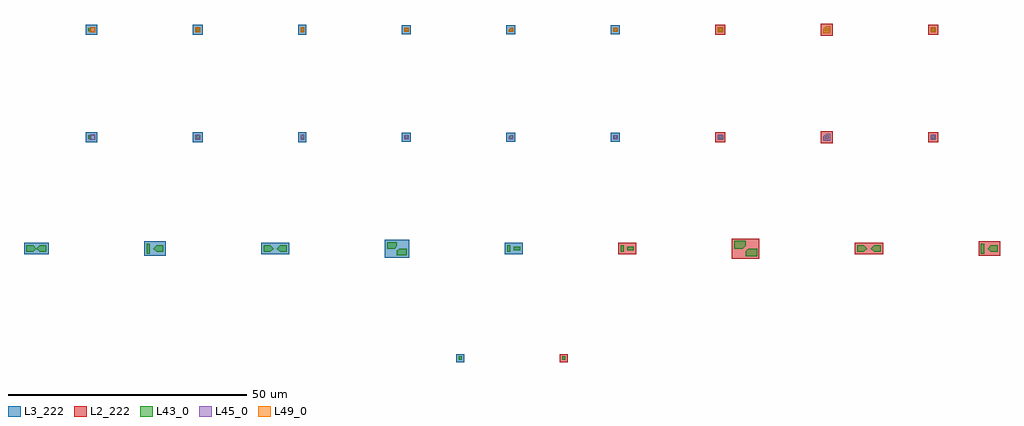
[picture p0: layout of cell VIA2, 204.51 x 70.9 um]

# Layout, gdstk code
from math import pi, radians
import gdstk
lib = gdstk.Library(unit=1e-6, precision=1e-09)
def R(c, l, rs):  # rectangles x0, y0, x1, y1
    for r in rs: c.add(gdstk.rectangle(r[:2], r[2:], *l))
def P(c, l, *ps):  # polygons
    for p in ps: c.add(gdstk.Polygon(p, *l))
L2_222 = (2, 222)
L3_222 = (3, 222)
L43_0 = (43, 0)
L45_0 = (45, 0)
L49_0 = (49, 0)

compass_layervia2_size0p = lib.new_cell('compass_layerVIA2_size0p7__0p7')
R(compass_layervia2_size0p, L43_0, [(-0.35,-0.35,0.35,0.35)])

rectangle_layervia2_size = lib.new_cell('rectangle_layerVIA2_size0p7__0p7')
rectangle_layervia2_size.add(gdstk.Reference(compass_layervia2_size0p, (0.35,0.35)))

compass_b2efa8bb = lib.new_cell('compass_b2efa8bb')
R(compass_b2efa8bb, L2_222, [(-0.85,-0.85,0.85,0.85)])

rectangle_b2efa8bb = lib.new_cell('rectangle_b2efa8bb')
rectangle_b2efa8bb.add(gdstk.Reference(compass_b2efa8bb, (0.85,0.85)))

pass_fail_mk_72bd3ad3 = lib.new_cell('pass_fail_mk_72bd3ad3')
pass_fail_mk_72bd3ad3.add(gdstk.Reference(rectangle_b2efa8bb, (-0.5,-0.5)))
pass_fail_mk_72bd3ad3.add(gdstk.Label('VIAC.W.1', (-0.25,-0.25), layer=11, texttype=222))

c_compass_layervia2_size0p = lib.new_cell('compass_layerVIA2_size0p69__0p69')
R(c_compass_layervia2_size0p, L43_0, [(-0.345,-0.345,0.345,0.345)])

c_rectangle_layervia2_size = lib.new_cell('rectangle_layerVIA2_size0p69__0p69')
c_rectangle_layervia2_size.add(gdstk.Reference(c_compass_layervia2_size0p, (0.345,0.345)))

compass_bd24d7c0 = lib.new_cell('compass_bd24d7c0')
R(compass_bd24d7c0, L3_222, [(-0.845,-0.845,0.845,0.845)])

rectangle_bd24d7c0 = lib.new_cell('rectangle_bd24d7c0')
rectangle_bd24d7c0.add(gdstk.Reference(compass_bd24d7c0, (0.845,0.845)))

pass_fail_mk_df7f044f = lib.new_cell('pass_fail_mk_df7f044f')
pass_fail_mk_df7f044f.add(gdstk.Reference(rectangle_bd24d7c0, (-0.5,-0.5)))
pass_fail_mk_df7f044f.add(gdstk.Label('VIAC.W.1', (-0.25,-0.25), layer=11, texttype=222))

size_patterns_width0_7_l = lib.new_cell('size_patterns_width0.7_layerVIA2')
size_patterns_width0_7_l.add(gdstk.Reference(rectangle_layervia2_size, (0,0)))
size_patterns_width0_7_l.add(gdstk.Reference(pass_fail_mk_72bd3ad3, (0,0)))
size_patterns_width0_7_l.add(gdstk.Reference(c_rectangle_layervia2_size, (-21.69,0.005)))
size_patterns_width0_7_l.add(gdstk.Reference(pass_fail_mk_df7f044f, (-21.69,0.005)))

c_compass_layervia2_size0p_ = lib.new_cell('compass_layerVIA2_size0p7__1p4')
R(c_compass_layervia2_size0p_, L43_0, [(-0.35,-0.7,0.35,0.7)])

c_rectangle_layervia2_size_ = lib.new_cell('rectangle_layerVIA2_size0p7__1p4')
c_rectangle_layervia2_size_.add(gdstk.Reference(c_compass_layervia2_size0p_, (0.35,0.7)))

compass_layervia2_size1p = lib.new_cell('compass_layerVIA2_size1p4__0p7')
R(compass_layervia2_size1p, L43_0, [(-0.7,-0.35,0.7,0.35)])

c_rectangle_layervia2_size__ = lib.new_cell('rectangle_layerVIA2_size1p4__0p7')
c_rectangle_layervia2_size__.add(gdstk.Reference(compass_layervia2_size1p, (0.7,0.35)))

space_basic_spacing0_7_l = lib.new_cell('space_basic_spacing0.7_layer1VIA2_layer2VIA2')
space_basic_spacing0_7_l.add(gdstk.Reference(c_rectangle_layervia2_size_, (-0.7,1.05), rotation=pi))
space_basic_spacing0_7_l.add(gdstk.Reference(c_rectangle_layervia2_size__, (0,0)))

compass_77408f74 = lib.new_cell('compass_77408f74')
R(compass_77408f74, L2_222, [(-1.9,-1.2,1.9,1.2)])

rectangle_77408f74 = lib.new_cell('rectangle_77408f74')
rectangle_77408f74.add(gdstk.Reference(compass_77408f74, (1.9,1.2)))

pass_fail_mk_171cb5ea = lib.new_cell('pass_fail_mk_171cb5ea')
pass_fail_mk_171cb5ea.add(gdstk.Reference(rectangle_77408f74, (-1.9,-0.85)))
pass_fail_mk_171cb5ea.add(gdstk.Label('VIAC.S.1', (-1.65,-0.6), layer=11, texttype=222))

space_basic_spacing0_69_ = lib.new_cell('space_basic_spacing0.69_layer1VIA2_layer2VIA2')
space_basic_spacing0_69_.add(gdstk.Reference(c_rectangle_layervia2_size_, (-0.69,1.05), rotation=pi))
space_basic_spacing0_69_.add(gdstk.Reference(c_rectangle_layervia2_size__, (0,0)))

compass_235e8b68 = lib.new_cell('compass_235e8b68')
R(compass_235e8b68, L3_222, [(-1.895,-1.2,1.895,1.2)])

rectangle_235e8b68 = lib.new_cell('rectangle_235e8b68')
rectangle_235e8b68.add(gdstk.Reference(compass_235e8b68, (1.895,1.2)))

pass_fail_mk_cb6344e8 = lib.new_cell('pass_fail_mk_cb6344e8')
pass_fail_mk_cb6344e8.add(gdstk.Reference(rectangle_235e8b68, (-1.89,-0.85)))
pass_fail_mk_cb6344e8.add(gdstk.Label('VIAC.S.1', (-1.64,-0.6), layer=11, texttype=222))

boolean_710292b4 = lib.new_cell('boolean_710292b4')
P(boolean_710292b4, L43_0, [(2.4,1.6),(0.567,1.6),(0,1.032),(0,0),(2.4,0)])

space_45deg_spacing0_799 = lib.new_cell('space_45deg_spacing0.7999999999999999_layer1VIA2_layer2VIA2')
space_45deg_spacing0_799.add(gdstk.Reference(boolean_710292b4, (0,0)))
space_45deg_spacing0_799.add(gdstk.Reference(boolean_710292b4, (0,3.2), rotation=pi))

compass_ca9d0b4a = lib.new_cell('compass_ca9d0b4a')
R(compass_ca9d0b4a, L2_222, [(-2.9,-2.1,2.9,2.1)])

rectangle_ca9d0b4a = lib.new_cell('rectangle_ca9d0b4a')
rectangle_ca9d0b4a.add(gdstk.Reference(compass_ca9d0b4a, (2.9,2.1)))

pass_fail_mk_9ec3c310 = lib.new_cell('pass_fail_mk_9ec3c310')
pass_fail_mk_9ec3c310.add(gdstk.Reference(rectangle_ca9d0b4a, (-2.9,-0.5)))
pass_fail_mk_9ec3c310.add(gdstk.Label('VIAC.S.1', (-2.65,-0.25), layer=11, texttype=222))

boolean_bac0e59e = lib.new_cell('boolean_bac0e59e')
P(boolean_bac0e59e, L43_0, [(2.07,1.38),(0.489,1.38),(0,0.891),(0,0),(2.07,0)])

space_45deg_spacing0_69_ = lib.new_cell('space_45deg_spacing0.69_layer1VIA2_layer2VIA2')
space_45deg_spacing0_69_.add(gdstk.Reference(boolean_bac0e59e, (0,0)))
space_45deg_spacing0_69_.add(gdstk.Reference(boolean_bac0e59e, (0,2.76), rotation=pi))

compass_da3c626a = lib.new_cell('compass_da3c626a')
R(compass_da3c626a, L3_222, [(-2.57,-1.88,2.57,1.88)])

rectangle_da3c626a = lib.new_cell('rectangle_da3c626a')
rectangle_da3c626a.add(gdstk.Reference(compass_da3c626a, (2.57,1.88)))

pass_fail_mk_a6b277d7 = lib.new_cell('pass_fail_mk_a6b277d7')
pass_fail_mk_a6b277d7.add(gdstk.Reference(rectangle_da3c626a, (-2.57,-0.5)))
pass_fail_mk_a6b277d7.add(gdstk.Label('VIAC.S.1', (-2.32,-0.25), layer=11, texttype=222))

boolean_8b945e49 = lib.new_cell('boolean_8b945e49')
P(boolean_8b945e49, L43_0, [(0,0),(1.4,0),(1.4,1.4),(0,1.4),(-0.7,0.7)])

boolean_934e1363 = lib.new_cell('boolean_934e1363')
P(boolean_934e1363, L43_0, [(1.4,1.4),(0,1.4),(-0.7,0.7),(0,0),(1.4,0)])

space_cor2cor_spacing0_7 = lib.new_cell('space_cor2cor_spacing0.7_layer1VIA2_layer2VIA2')
space_cor2cor_spacing0_7.add(gdstk.Reference(boolean_8b945e49, (0,0)))
space_cor2cor_spacing0_7.add(gdstk.Reference(boolean_934e1363, (-2.1,1.4), rotation=pi))

compass_ff052847 = lib.new_cell('compass_ff052847')
R(compass_ff052847, L2_222, [(-2.95,-1.2,2.95,1.2)])

rectangle_ff052847 = lib.new_cell('rectangle_ff052847')
rectangle_ff052847.add(gdstk.Reference(compass_ff052847, (2.95,1.2)))

pass_fail_mk_9d7fc9be = lib.new_cell('pass_fail_mk_9d7fc9be')
pass_fail_mk_9d7fc9be.add(gdstk.Reference(rectangle_ff052847, (-4,-0.5)))
pass_fail_mk_9d7fc9be.add(gdstk.Label('VIAC.S.1', (-3.75,-0.25), layer=11, texttype=222))

space_cor2cor_spacing0_6 = lib.new_cell('space_cor2cor_spacing0.69_layer1VIA2_layer2VIA2')
space_cor2cor_spacing0_6.add(gdstk.Reference(boolean_8b945e49, (0,0)))
space_cor2cor_spacing0_6.add(gdstk.Reference(boolean_934e1363, (-2.09,1.4), rotation=pi))

compass_60b5a301 = lib.new_cell('compass_60b5a301')
R(compass_60b5a301, L3_222, [(-2.945,-1.2,2.945,1.2)])

rectangle_60b5a301 = lib.new_cell('rectangle_60b5a301')
rectangle_60b5a301.add(gdstk.Reference(compass_60b5a301, (2.945,1.2)))

pass_fail_mk_4e3239f9 = lib.new_cell('pass_fail_mk_4e3239f9')
pass_fail_mk_4e3239f9.add(gdstk.Reference(rectangle_60b5a301, (-3.99,-0.5)))
pass_fail_mk_4e3239f9.add(gdstk.Label('VIAC.S.1', (-3.74,-0.25), layer=11, texttype=222))

c_compass_layervia2_size0p__ = lib.new_cell('compass_layerVIA2_size0p7__2p1')
R(c_compass_layervia2_size0p__, L43_0, [(-0.35,-1.05,0.35,1.05)])

c_rectangle_layervia2_size___ = lib.new_cell('rectangle_layerVIA2_size0p7__2p1')
c_rectangle_layervia2_size___.add(gdstk.Reference(c_compass_layervia2_size0p__, (0.35,1.05)))

space_cor2edge_spacing0_ = lib.new_cell('space_cor2edge_spacing0.7_layer1VIA2_layer2VIA2')
space_cor2edge_spacing0_.add(gdstk.Reference(c_rectangle_layervia2_size___, (-2.1,-0.35)))
space_cor2edge_spacing0_.add(gdstk.Reference(boolean_8b945e49, (0,0)))

compass_0f98536f = lib.new_cell('compass_0f98536f')
R(compass_0f98536f, L2_222, [(-2.25,-1.55,2.25,1.55)])

rectangle_0f98536f = lib.new_cell('rectangle_0f98536f')
rectangle_0f98536f.add(gdstk.Reference(compass_0f98536f, (2.25,1.55)))

pass_fail_mk_c30ee0fb = lib.new_cell('pass_fail_mk_c30ee0fb')
pass_fail_mk_c30ee0fb.add(gdstk.Reference(rectangle_0f98536f, (-2.6,-0.85)))
pass_fail_mk_c30ee0fb.add(gdstk.Label('VIAC.S.1', (-2.35,-0.6), layer=11, texttype=222))

c_space_cor2edge_spacing0_ = lib.new_cell('space_cor2edge_spacing0.69_layer1VIA2_layer2VIA2')
c_space_cor2edge_spacing0_.add(gdstk.Reference(c_rectangle_layervia2_size___, (-2.09,-0.35)))
c_space_cor2edge_spacing0_.add(gdstk.Reference(boolean_8b945e49, (0,0)))

compass_382587ec = lib.new_cell('compass_382587ec')
R(compass_382587ec, L3_222, [(-2.245,-1.55,2.245,1.55)])

rectangle_382587ec = lib.new_cell('rectangle_382587ec')
rectangle_382587ec.add(gdstk.Reference(compass_382587ec, (2.245,1.55)))

pass_fail_mk_7d301e74 = lib.new_cell('pass_fail_mk_7d301e74')
pass_fail_mk_7d301e74.add(gdstk.Reference(rectangle_382587ec, (-2.59,-0.85)))
pass_fail_mk_7d301e74.add(gdstk.Label('VIAC.S.1', (-2.34,-0.6), layer=11, texttype=222))

space_singular_layer1via = lib.new_cell('space_singular_layer1VIA2_layer2VIA2')
space_singular_layer1via.add(gdstk.Reference(boolean_8b945e49, (0,0)))
space_singular_layer1via.add(gdstk.Reference(boolean_8b945e49, (-1.4,1.4), rotation=pi))

compass_ae880962 = lib.new_cell('compass_ae880962')
R(compass_ae880962, L3_222, [(-2.6,-1.2,2.6,1.2)])

rectangle_ae880962 = lib.new_cell('rectangle_ae880962')
rectangle_ae880962.add(gdstk.Reference(compass_ae880962, (2.6,1.2)))

pass_fail_mk_90696ac2 = lib.new_cell('pass_fail_mk_90696ac2')
pass_fail_mk_90696ac2.add(gdstk.Reference(rectangle_ae880962, (-3.3,-0.5)))
pass_fail_mk_90696ac2.add(gdstk.Label('VIAC.S.1', (-3.05,-0.25), layer=11, texttype=222))

space_patterns_width0_7_ = lib.new_cell('space_patterns_width0.7_layer1VIA2_layer2VIA2')
space_patterns_width0_7_.add(gdstk.Reference(space_basic_spacing0_7_l, (0,0)))
space_patterns_width0_7_.add(gdstk.Reference(pass_fail_mk_171cb5ea, (0,0)))
space_patterns_width0_7_.add(gdstk.Reference(space_basic_spacing0_69_, (-23.8,0)))
space_patterns_width0_7_.add(gdstk.Reference(pass_fail_mk_cb6344e8, (-23.8,0)))
space_patterns_width0_7_.add(gdstk.Reference(space_45deg_spacing0_799, (24.8,-1.25)))
space_patterns_width0_7_.add(gdstk.Reference(pass_fail_mk_9ec3c310, (24.8,-1.25)))
space_patterns_width0_7_.add(gdstk.Reference(space_45deg_spacing0_69_, (-48.26,-1.03)))
space_patterns_width0_7_.add(gdstk.Reference(pass_fail_mk_a6b277d7, (-48.26,-1.03)))
space_patterns_width0_7_.add(gdstk.Reference(space_cor2cor_spacing0_7, (51.7,-0.35)))
space_patterns_width0_7_.add(gdstk.Reference(pass_fail_mk_9d7fc9be, (51.7,-0.35)))
space_patterns_width0_7_.add(gdstk.Reference(space_cor2cor_spacing0_6, (-72.73,-0.35)))
space_patterns_width0_7_.add(gdstk.Reference(pass_fail_mk_4e3239f9, (-72.73,-0.35)))
space_patterns_width0_7_.add(gdstk.Reference(space_cor2edge_spacing0_, (76.2,-0.35)))
space_patterns_width0_7_.add(gdstk.Reference(pass_fail_mk_c30ee0fb, (76.2,-0.35)))
space_patterns_width0_7_.add(gdstk.Reference(c_space_cor2edge_spacing0_, (-98.62,-0.35)))
space_patterns_width0_7_.add(gdstk.Reference(pass_fail_mk_7d301e74, (-98.62,-0.35)))
space_patterns_width0_7_.add(gdstk.Reference(space_singular_layer1via, (-123.11,-0.35)))
space_patterns_width0_7_.add(gdstk.Reference(pass_fail_mk_90696ac2, (-123.11,-0.35)))

compass_layerm2_size1p1_ = lib.new_cell('compass_layerM2_size1p1__1p1')
R(compass_layerm2_size1p1_, L45_0, [(-0.55,-0.55,0.55,0.55)])

rectangle_layerm2_size1p = lib.new_cell('rectangle_layerM2_size1p1__1p1')
rectangle_layerm2_size1p.add(gdstk.Reference(compass_layerm2_size1p1_, (0.55,0.55)))

enclose_basic_enc0_2_wid = lib.new_cell('enclose_basic_enc0.2_width0.7_layer_VIA2_enc_layerM2')
enclose_basic_enc0_2_wid.add(gdstk.Reference(rectangle_layervia2_size, (0,0)))
enclose_basic_enc0_2_wid.add(gdstk.Reference(rectangle_layerm2_size1p, (-0.2,-0.2)))

compass_4d9544ad = lib.new_cell('compass_4d9544ad')
R(compass_4d9544ad, L2_222, [(-1.05,-1.05,1.05,1.05)])

rectangle_4d9544ad = lib.new_cell('rectangle_4d9544ad')
rectangle_4d9544ad.add(gdstk.Reference(compass_4d9544ad, (1.05,1.05)))

pass_fail_mk_add33fec = lib.new_cell('pass_fail_mk_add33fec')
pass_fail_mk_add33fec.add(gdstk.Reference(rectangle_4d9544ad, (-0.7,-0.7)))
pass_fail_mk_add33fec.add(gdstk.Label('VIAC.EN.1', (-0.45,-0.45), layer=11, texttype=222))

compass_layerm2_size0p9_ = lib.new_cell('compass_layerM2_size0p9__0p9')
R(compass_layerm2_size0p9_, L45_0, [(-0.45,-0.45,0.45,0.45)])

rectangle_layerm2_size0p = lib.new_cell('rectangle_layerM2_size0p9__0p9')
rectangle_layerm2_size0p.add(gdstk.Reference(compass_layerm2_size0p9_, (0.45,0.45)))

enclose_basic_enc0_1_wid = lib.new_cell('enclose_basic_enc0.1_width0.7_layer_VIA2_enc_layerM2')
enclose_basic_enc0_1_wid.add(gdstk.Reference(rectangle_layervia2_size, (0,0)))
enclose_basic_enc0_1_wid.add(gdstk.Reference(rectangle_layerm2_size0p, (-0.1,-0.1)))

compass_35335814 = lib.new_cell('compass_35335814')
R(compass_35335814, L3_222, [(-0.95,-0.95,0.95,0.95)])

rectangle_35335814 = lib.new_cell('rectangle_35335814')
rectangle_35335814.add(gdstk.Reference(compass_35335814, (0.95,0.95)))

pass_fail_mk_519b82d3 = lib.new_cell('pass_fail_mk_519b82d3')
pass_fail_mk_519b82d3.add(gdstk.Reference(rectangle_35335814, (-0.6,-0.6)))
pass_fail_mk_519b82d3.add(gdstk.Label('VIAC.EN.1', (-0.35,-0.35), layer=11, texttype=222))

boolean_3cbc6f09 = lib.new_cell('boolean_3cbc6f09')
P(boolean_3cbc6f09, L43_0, [(0.7,0.7),(0.248,0.7),(0,0.452),(0,0),(0.7,0)])

boolean_161bbef3 = lib.new_cell('boolean_161bbef3')
P(boolean_161bbef3, L45_0, [(1.1,1.1),(0.209,1.1),(-0.4,0.491),(-0.4,-0.4),(1.1,-0.4)])

enclose_45deg_enc0_4_wid = lib.new_cell('enclose_45deg_enc0.4_width0.7_layer_VIA2_enc_layerM2')
enclose_45deg_enc0_4_wid.add(gdstk.Reference(boolean_3cbc6f09, (0,0)))
enclose_45deg_enc0_4_wid.add(gdstk.Reference(boolean_161bbef3, (0,0)))

compass_d4646f12 = lib.new_cell('compass_d4646f12')
R(compass_d4646f12, L2_222, [(-1.25,-1.25,1.25,1.25)])

rectangle_d4646f12 = lib.new_cell('rectangle_d4646f12')
rectangle_d4646f12.add(gdstk.Reference(compass_d4646f12, (1.25,1.25)))

pass_fail_mk_6dbe12ae = lib.new_cell('pass_fail_mk_6dbe12ae')
pass_fail_mk_6dbe12ae.add(gdstk.Reference(rectangle_d4646f12, (-0.9,-0.9)))
pass_fail_mk_6dbe12ae.add(gdstk.Label('VIAC.EN.1', (-0.65,-0.65), layer=11, texttype=222))

boolean_068c61a4 = lib.new_cell('boolean_068c61a4')
P(boolean_068c61a4, L45_0, [(0.8,0.8),(0.315,0.8),(-0.1,0.385),(-0.1,-0.1),(0.8,-0.1)])

enclose_45deg_enc0_1_wid = lib.new_cell('enclose_45deg_enc0.1_width0.7_layer_VIA2_enc_layerM2')
enclose_45deg_enc0_1_wid.add(gdstk.Reference(boolean_3cbc6f09, (0,0)))
enclose_45deg_enc0_1_wid.add(gdstk.Reference(boolean_068c61a4, (0,0)))

pass_fail_mk_f480aef5 = lib.new_cell('pass_fail_mk_f480aef5')
pass_fail_mk_f480aef5.add(gdstk.Reference(rectangle_35335814, (-0.6,-0.6)))
pass_fail_mk_f480aef5.add(gdstk.Label('VIAC.EN.1', (-0.35,-0.35), layer=11, texttype=222))

boolean_f3df6625 = lib.new_cell('boolean_f3df6625')
P(boolean_f3df6625, L45_0, [(0.9,0.9),(-0.085,0.9),(-0.2,0.785),(-0.2,-0.2),(0.9,-0.2)])

enclose_cor2edge_enc0_2_ = lib.new_cell('enclose_cor2edge_enc0.2_width0.7_layer_VIA2_enc_layerM2')
enclose_cor2edge_enc0_2_.add(gdstk.Reference(rectangle_layervia2_size, (0,0)))
enclose_cor2edge_enc0_2_.add(gdstk.Reference(boolean_f3df6625, (0,0)))

pass_fail_mk_6daf7c5c = lib.new_cell('pass_fail_mk_6daf7c5c')
pass_fail_mk_6daf7c5c.add(gdstk.Reference(rectangle_4d9544ad, (-0.7,-0.7)))
pass_fail_mk_6daf7c5c.add(gdstk.Label('VIAC.EN.1', (-0.45,-0.45), layer=11, texttype=222))

boolean_da858abf = lib.new_cell('boolean_da858abf')
P(boolean_da858abf, L45_0, [(0.8,0.8),(-0.042,0.8),(-0.1,0.742),(-0.1,-0.1),(0.8,-0.1)])

enclose_cor2edge_enc0_1_ = lib.new_cell('enclose_cor2edge_enc0.1_width0.7_layer_VIA2_enc_layerM2')
enclose_cor2edge_enc0_1_.add(gdstk.Reference(rectangle_layervia2_size, (0,0)))
enclose_cor2edge_enc0_1_.add(gdstk.Reference(boolean_da858abf, (0,0)))

pass_fail_mk_2a5da96a = lib.new_cell('pass_fail_mk_2a5da96a')
pass_fail_mk_2a5da96a.add(gdstk.Reference(rectangle_35335814, (-0.6,-0.6)))
pass_fail_mk_2a5da96a.add(gdstk.Label('VIAC.EN.1', (-0.35,-0.35), layer=11, texttype=222))

compass_layerm2_size0p7_ = lib.new_cell('compass_layerM2_size0p7__1p1')
R(compass_layerm2_size0p7_, L45_0, [(-0.35,-0.55,0.35,0.55)])

c_rectangle_layerm2_size0p = lib.new_cell('rectangle_layerM2_size0p7__1p1')
c_rectangle_layerm2_size0p.add(gdstk.Reference(compass_layerm2_size0p7_, (0.35,0.55)))

enclose_touch_enc0_2_wid = lib.new_cell('enclose_touch_enc0.2_width0.7_layer_VIA2_enc_layerM2')
enclose_touch_enc0_2_wid.add(gdstk.Reference(rectangle_layervia2_size, (0,0)))
enclose_touch_enc0_2_wid.add(gdstk.Reference(c_rectangle_layerm2_size0p, (0,-0.2)))

compass_6bef56c6 = lib.new_cell('compass_6bef56c6')
R(compass_6bef56c6, L3_222, [(-0.85,-1.05,0.85,1.05)])

rectangle_6bef56c6 = lib.new_cell('rectangle_6bef56c6')
rectangle_6bef56c6.add(gdstk.Reference(compass_6bef56c6, (0.85,1.05)))

pass_fail_mk_edf9bd42 = lib.new_cell('pass_fail_mk_edf9bd42')
pass_fail_mk_edf9bd42.add(gdstk.Reference(rectangle_6bef56c6, (-0.5,-0.7)))
pass_fail_mk_edf9bd42.add(gdstk.Label('VIAC.EN.1', (-0.25,-0.45), layer=11, texttype=222))

boolean_4a46e342 = lib.new_cell('boolean_4a46e342')
P(boolean_4a46e342, L45_0, [(0.9,0.9),(-0.2,0.9),(-0.2,0.088),(0.088,0.088),(0.088,0.612),(0.612,0.612),(0.612,0.088),(0.088,0.088),(-0.2,0.088),(-0.2,-0.2),(0.9,-0.2)])

enclose_hole_enc0_2_widt = lib.new_cell('enclose_hole_enc0.2_width0.7_layer_VIA2_enc_layerM2')
enclose_hole_enc0_2_widt.add(gdstk.Reference(rectangle_layervia2_size, (0,0)))
enclose_hole_enc0_2_widt.add(gdstk.Reference(boolean_4a46e342, (0,0)))

compass_68271b65 = lib.new_cell('compass_68271b65')
R(compass_68271b65, L3_222, [(-1.05,-1.05,1.05,1.05)])

rectangle_68271b65 = lib.new_cell('rectangle_68271b65')
rectangle_68271b65.add(gdstk.Reference(compass_68271b65, (1.05,1.05)))

pass_fail_mk_ac9b9ad2 = lib.new_cell('pass_fail_mk_ac9b9ad2')
pass_fail_mk_ac9b9ad2.add(gdstk.Reference(rectangle_68271b65, (-0.7,-0.7)))
pass_fail_mk_ac9b9ad2.add(gdstk.Label('VIAC.EN.1', (-0.45,-0.45), layer=11, texttype=222))

enclose_intersect_enc0_2 = lib.new_cell('enclose_intersect_enc0.2_width0.7_layer_VIA2_enc_layerM2')
enclose_intersect_enc0_2.add(gdstk.Reference(rectangle_layervia2_size, (-0.55,0)))
enclose_intersect_enc0_2.add(gdstk.Reference(rectangle_layerm2_size1p, (-0.2,-0.2)))

compass_78b57009 = lib.new_cell('compass_78b57009')
R(compass_78b57009, L3_222, [(-1.225,-1.05,1.225,1.05)])

rectangle_78b57009 = lib.new_cell('rectangle_78b57009')
rectangle_78b57009.add(gdstk.Reference(compass_78b57009, (1.225,1.05)))

pass_fail_mk_bdd8e216 = lib.new_cell('pass_fail_mk_bdd8e216')
pass_fail_mk_bdd8e216.add(gdstk.Reference(rectangle_78b57009, (-1.05,-0.7)))
pass_fail_mk_bdd8e216.add(gdstk.Label('VIAC.EN.1', (-0.8,-0.45), layer=11, texttype=222))

enclose_patterns_enclosu = lib.new_cell('enclose_patterns_enclosure0.2_width0.7_layerVIA2_enc_layerM2')
enclose_patterns_enclosu.add(gdstk.Reference(enclose_basic_enc0_2_wid, (0,0)))
enclose_patterns_enclosu.add(gdstk.Reference(pass_fail_mk_add33fec, (0,0)))
enclose_patterns_enclosu.add(gdstk.Reference(enclose_basic_enc0_1_wid, (-22,0)))
enclose_patterns_enclosu.add(gdstk.Reference(pass_fail_mk_519b82d3, (-22,0)))
enclose_patterns_enclosu.add(gdstk.Reference(enclose_45deg_enc0_4_wid, (22.3,0)))
enclose_patterns_enclosu.add(gdstk.Reference(pass_fail_mk_6dbe12ae, (22.3,0)))
enclose_patterns_enclosu.add(gdstk.Reference(enclose_45deg_enc0_1_wid, (-43.9,0)))
enclose_patterns_enclosu.add(gdstk.Reference(pass_fail_mk_f480aef5, (-43.9,0)))
enclose_patterns_enclosu.add(gdstk.Reference(enclose_cor2edge_enc0_2_, (44.6,0)))
enclose_patterns_enclosu.add(gdstk.Reference(pass_fail_mk_6daf7c5c, (44.6,0)))
enclose_patterns_enclosu.add(gdstk.Reference(enclose_cor2edge_enc0_1_, (-65.8,0)))
enclose_patterns_enclosu.add(gdstk.Reference(pass_fail_mk_2a5da96a, (-65.8,0)))
enclose_patterns_enclosu.add(gdstk.Reference(enclose_touch_enc0_2_wid, (-87.6,0)))
enclose_patterns_enclosu.add(gdstk.Reference(pass_fail_mk_edf9bd42, (-87.6,0)))
enclose_patterns_enclosu.add(gdstk.Reference(enclose_hole_enc0_2_widt, (-109.5,0)))
enclose_patterns_enclosu.add(gdstk.Reference(pass_fail_mk_ac9b9ad2, (-109.5,0)))
enclose_patterns_enclosu.add(gdstk.Reference(enclose_intersect_enc0_2, (-131.6,0)))
enclose_patterns_enclosu.add(gdstk.Reference(pass_fail_mk_bdd8e216, (-131.6,0)))

compass_layerm3_size1p1_ = lib.new_cell('compass_layerM3_size1p1__1p1')
R(compass_layerm3_size1p1_, L49_0, [(-0.55,-0.55,0.55,0.55)])

rectangle_layerm3_size1p = lib.new_cell('rectangle_layerM3_size1p1__1p1')
rectangle_layerm3_size1p.add(gdstk.Reference(compass_layerm3_size1p1_, (0.55,0.55)))

c_enclose_basic_enc0_2_wid = lib.new_cell('enclose_basic_enc0.2_width0.7_layer_VIA2_enc_layerM3')
c_enclose_basic_enc0_2_wid.add(gdstk.Reference(rectangle_layervia2_size, (0,0)))
c_enclose_basic_enc0_2_wid.add(gdstk.Reference(rectangle_layerm3_size1p, (-0.2,-0.2)))

pass_fail_mk_5382d05a = lib.new_cell('pass_fail_mk_5382d05a')
pass_fail_mk_5382d05a.add(gdstk.Reference(rectangle_4d9544ad, (-0.7,-0.7)))
pass_fail_mk_5382d05a.add(gdstk.Label('VIAC.EN.2', (-0.45,-0.45), layer=11, texttype=222))

compass_layerm3_size0p9_ = lib.new_cell('compass_layerM3_size0p9__0p9')
R(compass_layerm3_size0p9_, L49_0, [(-0.45,-0.45,0.45,0.45)])

rectangle_layerm3_size0p = lib.new_cell('rectangle_layerM3_size0p9__0p9')
rectangle_layerm3_size0p.add(gdstk.Reference(compass_layerm3_size0p9_, (0.45,0.45)))

c_enclose_basic_enc0_1_wid = lib.new_cell('enclose_basic_enc0.1_width0.7_layer_VIA2_enc_layerM3')
c_enclose_basic_enc0_1_wid.add(gdstk.Reference(rectangle_layervia2_size, (0,0)))
c_enclose_basic_enc0_1_wid.add(gdstk.Reference(rectangle_layerm3_size0p, (-0.1,-0.1)))

pass_fail_mk_3b71d2f0 = lib.new_cell('pass_fail_mk_3b71d2f0')
pass_fail_mk_3b71d2f0.add(gdstk.Reference(rectangle_35335814, (-0.6,-0.6)))
pass_fail_mk_3b71d2f0.add(gdstk.Label('VIAC.EN.2', (-0.35,-0.35), layer=11, texttype=222))

boolean_1b2d43b0 = lib.new_cell('boolean_1b2d43b0')
P(boolean_1b2d43b0, L49_0, [(1.1,1.1),(0.209,1.1),(-0.4,0.491),(-0.4,-0.4),(1.1,-0.4)])

c_enclose_45deg_enc0_4_wid = lib.new_cell('enclose_45deg_enc0.4_width0.7_layer_VIA2_enc_layerM3')
c_enclose_45deg_enc0_4_wid.add(gdstk.Reference(boolean_3cbc6f09, (0,0)))
c_enclose_45deg_enc0_4_wid.add(gdstk.Reference(boolean_1b2d43b0, (0,0)))

pass_fail_mk_02a2bd42 = lib.new_cell('pass_fail_mk_02a2bd42')
pass_fail_mk_02a2bd42.add(gdstk.Reference(rectangle_d4646f12, (-0.9,-0.9)))
pass_fail_mk_02a2bd42.add(gdstk.Label('VIAC.EN.2', (-0.65,-0.65), layer=11, texttype=222))

boolean_aa149c84 = lib.new_cell('boolean_aa149c84')
P(boolean_aa149c84, L49_0, [(0.8,0.8),(0.315,0.8),(-0.1,0.385),(-0.1,-0.1),(0.8,-0.1)])

c_enclose_45deg_enc0_1_wid = lib.new_cell('enclose_45deg_enc0.1_width0.7_layer_VIA2_enc_layerM3')
c_enclose_45deg_enc0_1_wid.add(gdstk.Reference(boolean_3cbc6f09, (0,0)))
c_enclose_45deg_enc0_1_wid.add(gdstk.Reference(boolean_aa149c84, (0,0)))

pass_fail_mk_e8ec6dae = lib.new_cell('pass_fail_mk_e8ec6dae')
pass_fail_mk_e8ec6dae.add(gdstk.Reference(rectangle_35335814, (-0.6,-0.6)))
pass_fail_mk_e8ec6dae.add(gdstk.Label('VIAC.EN.2', (-0.35,-0.35), layer=11, texttype=222))

boolean_1e4e57b1 = lib.new_cell('boolean_1e4e57b1')
P(boolean_1e4e57b1, L49_0, [(0.9,0.9),(-0.085,0.9),(-0.2,0.785),(-0.2,-0.2),(0.9,-0.2)])

c_enclose_cor2edge_enc0_2_ = lib.new_cell('enclose_cor2edge_enc0.2_width0.7_layer_VIA2_enc_layerM3')
c_enclose_cor2edge_enc0_2_.add(gdstk.Reference(rectangle_layervia2_size, (0,0)))
c_enclose_cor2edge_enc0_2_.add(gdstk.Reference(boolean_1e4e57b1, (0,0)))

pass_fail_mk_88c9f7ba = lib.new_cell('pass_fail_mk_88c9f7ba')
pass_fail_mk_88c9f7ba.add(gdstk.Reference(rectangle_4d9544ad, (-0.7,-0.7)))
pass_fail_mk_88c9f7ba.add(gdstk.Label('VIAC.EN.2', (-0.45,-0.45), layer=11, texttype=222))

boolean_a2b50114 = lib.new_cell('boolean_a2b50114')
P(boolean_a2b50114, L49_0, [(0.8,0.8),(-0.042,0.8),(-0.1,0.742),(-0.1,-0.1),(0.8,-0.1)])

c_enclose_cor2edge_enc0_1_ = lib.new_cell('enclose_cor2edge_enc0.1_width0.7_layer_VIA2_enc_layerM3')
c_enclose_cor2edge_enc0_1_.add(gdstk.Reference(rectangle_layervia2_size, (0,0)))
c_enclose_cor2edge_enc0_1_.add(gdstk.Reference(boolean_a2b50114, (0,0)))

pass_fail_mk_4a842e5c = lib.new_cell('pass_fail_mk_4a842e5c')
pass_fail_mk_4a842e5c.add(gdstk.Reference(rectangle_35335814, (-0.6,-0.6)))
pass_fail_mk_4a842e5c.add(gdstk.Label('VIAC.EN.2', (-0.35,-0.35), layer=11, texttype=222))

compass_layerm3_size0p7_ = lib.new_cell('compass_layerM3_size0p7__1p1')
R(compass_layerm3_size0p7_, L49_0, [(-0.35,-0.55,0.35,0.55)])

c_rectangle_layerm3_size0p = lib.new_cell('rectangle_layerM3_size0p7__1p1')
c_rectangle_layerm3_size0p.add(gdstk.Reference(compass_layerm3_size0p7_, (0.35,0.55)))

c_enclose_touch_enc0_2_wid = lib.new_cell('enclose_touch_enc0.2_width0.7_layer_VIA2_enc_layerM3')
c_enclose_touch_enc0_2_wid.add(gdstk.Reference(rectangle_layervia2_size, (0,0)))
c_enclose_touch_enc0_2_wid.add(gdstk.Reference(c_rectangle_layerm3_size0p, (0,-0.2)))

pass_fail_mk_9437c8d6 = lib.new_cell('pass_fail_mk_9437c8d6')
pass_fail_mk_9437c8d6.add(gdstk.Reference(rectangle_6bef56c6, (-0.5,-0.7)))
pass_fail_mk_9437c8d6.add(gdstk.Label('VIAC.EN.2', (-0.25,-0.45), layer=11, texttype=222))

boolean_0775ec70 = lib.new_cell('boolean_0775ec70')
P(boolean_0775ec70, L49_0, [(0.9,0.9),(-0.2,0.9),(-0.2,0.088),(0.088,0.088),(0.088,0.612),(0.612,0.612),(0.612,0.088),(0.088,0.088),(-0.2,0.088),(-0.2,-0.2),(0.9,-0.2)])

c_enclose_hole_enc0_2_widt = lib.new_cell('enclose_hole_enc0.2_width0.7_layer_VIA2_enc_layerM3')
c_enclose_hole_enc0_2_widt.add(gdstk.Reference(rectangle_layervia2_size, (0,0)))
c_enclose_hole_enc0_2_widt.add(gdstk.Reference(boolean_0775ec70, (0,0)))

pass_fail_mk_c51e04fa = lib.new_cell('pass_fail_mk_c51e04fa')
pass_fail_mk_c51e04fa.add(gdstk.Reference(rectangle_68271b65, (-0.7,-0.7)))
pass_fail_mk_c51e04fa.add(gdstk.Label('VIAC.EN.2', (-0.45,-0.45), layer=11, texttype=222))

c_enclose_intersect_enc0_2 = lib.new_cell('enclose_intersect_enc0.2_width0.7_layer_VIA2_enc_layerM3')
c_enclose_intersect_enc0_2.add(gdstk.Reference(rectangle_layervia2_size, (-0.55,0)))
c_enclose_intersect_enc0_2.add(gdstk.Reference(rectangle_layerm3_size1p, (-0.2,-0.2)))

pass_fail_mk_c0cc23f7 = lib.new_cell('pass_fail_mk_c0cc23f7')
pass_fail_mk_c0cc23f7.add(gdstk.Reference(rectangle_78b57009, (-1.05,-0.7)))
pass_fail_mk_c0cc23f7.add(gdstk.Label('VIAC.EN.2', (-0.8,-0.45), layer=11, texttype=222))

c_enclose_patterns_enclosu = lib.new_cell('enclose_patterns_enclosure0.2_width0.7_layerVIA2_enc_layerM3')
c_enclose_patterns_enclosu.add(gdstk.Reference(c_enclose_basic_enc0_2_wid, (0,0)))
c_enclose_patterns_enclosu.add(gdstk.Reference(pass_fail_mk_5382d05a, (0,0)))
c_enclose_patterns_enclosu.add(gdstk.Reference(c_enclose_basic_enc0_1_wid, (-22,0)))
c_enclose_patterns_enclosu.add(gdstk.Reference(pass_fail_mk_3b71d2f0, (-22,0)))
c_enclose_patterns_enclosu.add(gdstk.Reference(c_enclose_45deg_enc0_4_wid, (22.3,0)))
c_enclose_patterns_enclosu.add(gdstk.Reference(pass_fail_mk_02a2bd42, (22.3,0)))
c_enclose_patterns_enclosu.add(gdstk.Reference(c_enclose_45deg_enc0_1_wid, (-43.9,0)))
c_enclose_patterns_enclosu.add(gdstk.Reference(pass_fail_mk_e8ec6dae, (-43.9,0)))
c_enclose_patterns_enclosu.add(gdstk.Reference(c_enclose_cor2edge_enc0_2_, (44.6,0)))
c_enclose_patterns_enclosu.add(gdstk.Reference(pass_fail_mk_88c9f7ba, (44.6,0)))
c_enclose_patterns_enclosu.add(gdstk.Reference(c_enclose_cor2edge_enc0_1_, (-65.8,0)))
c_enclose_patterns_enclosu.add(gdstk.Reference(pass_fail_mk_4a842e5c, (-65.8,0)))
c_enclose_patterns_enclosu.add(gdstk.Reference(c_enclose_touch_enc0_2_wid, (-87.6,0)))
c_enclose_patterns_enclosu.add(gdstk.Reference(pass_fail_mk_9437c8d6, (-87.6,0)))
c_enclose_patterns_enclosu.add(gdstk.Reference(c_enclose_hole_enc0_2_widt, (-109.5,0)))
c_enclose_patterns_enclosu.add(gdstk.Reference(pass_fail_mk_c51e04fa, (-109.5,0)))
c_enclose_patterns_enclosu.add(gdstk.Reference(c_enclose_intersect_enc0_2, (-131.6,0)))
c_enclose_patterns_enclosu.add(gdstk.Reference(pass_fail_mk_c0cc23f7, (-131.6,0)))

via2 = lib.new_cell('VIA2')
via2.add(gdstk.Reference(size_patterns_width0_7_l, (0,0)))
via2.add(gdstk.Reference(space_patterns_width0_7_, (13.66,22.95)))
via2.add(gdstk.Reference(enclose_patterns_enclosu, (32.83,46.3)))
via2.add(gdstk.Reference(c_enclose_patterns_enclosu, (32.83,68.8)))

lib.write_gds('VIA2.gds')
